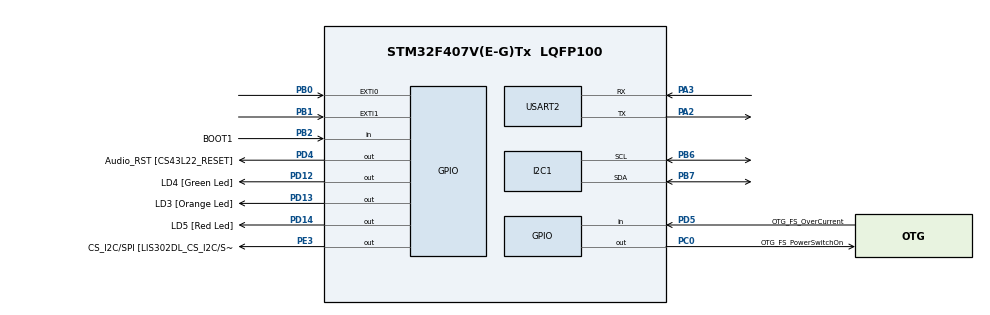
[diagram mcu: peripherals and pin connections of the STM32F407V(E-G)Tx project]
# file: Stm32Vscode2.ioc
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Dma.Request0=USART2_TX
Dma.USART2_TX.0.Direction=DMA_MEMORY_TO_PERIPH
Dma.USART2_TX.0.FIFOMode=DMA_FIFOMODE_DISABLE
Dma.USART2_TX.0.Instance=DMA1_Stream6
Dma.USART2_TX.0.MemDataAlignment=DMA_MDATAALIGN_BYTE
Dma.USART2_TX.0.MemInc=DMA_MINC_ENABLE
Dma.USART2_TX.0.Mode=DMA_NORMAL
Dma.USART2_TX.0.PeriphDataAlignment=DMA_PDATAALIGN_BYTE
Dma.USART2_TX.0.PeriphInc=DMA_PINC_DISABLE
Dma.USART2_TX.0.Priority=DMA_PRIORITY_LOW
Mcu.Family=STM32F4
Mcu.Name=STM32F407V(E-G)Tx
Mcu.Package=LQFP100
NVIC.DMA1_Stream6_IRQn=true\:0\:0\:false\:false\:true\:false\:true\:true
NVIC.I2C1_ER_IRQn=true\:0\:0\:false\:false\:true\:true\:true\:true
NVIC.I2C1_EV_IRQn=true\:0\:0\:false\:false\:true\:true\:true\:true
NVIC.PriorityGroup=NVIC_PRIORITYGROUP_0
NVIC.TIM6_DAC_IRQn=true\:0\:0\:false\:false\:true\:true\:true\:true
NVIC.USART2_IRQn=true\:0\:0\:false\:false\:true\:true\:true\:true
PA13.GPIO_Label=SWDIO
PA13.Mode=Serial_Wire
PA13.Signal=SYS_JTMS-SWDIO
PA14.GPIO_Label=SWCLK
PA14.Mode=Serial_Wire
PA14.Signal=SYS_JTCK-SWCLK
PA2.Mode=Asynchronous
PA2.Signal=USART2_TX
PA3.Mode=Asynchronous
PA3.Signal=USART2_RX
PB0.Signal=GPXTI0
PB1.Signal=GPXTI1
PB10.GPIO_Label=CLK_IN [MP45DT02_CLK]
PB10.GPIO_Mode=GPIO_MODE_AF_PP
PB10.GPIO_PuPd=GPIO_NOPULL
PB10.GPIO_Speed=GPIO_SPEED_FREQ_LOW
PB10.Signal=I2S2_CK
PB2.GPIO_Label=BOOT1
PB2.GPIO_Mode=GPIO_MODE_INPUT
PB2.GPIO_PuPd=GPIO_NOPULL
PB2.Signal=GPIO_Input
PB3.GPIO_Label=SWO
PB3.Signal=SYS_JTDO-SWO
PB6.Mode=I2C
PB6.Signal=I2C1_SCL
PB7.Mode=I2C
PB7.Signal=I2C1_SDA
PC0.GPIO_Label=OTG_FS_PowerSwitchOn
PC0.GPIO_PuPd=GPIO_NOPULL
PC0.GPIO_Speed=GPIO_SPEED_FREQ_LOW
PC0.PinState=GPIO_PIN_SET
PC0.Signal=GPIO_Output
PC10.GPIO_Label=I2S3_SCK [CS43L22_SCLK]
PC10.GPIO_Mode=GPIO_MODE_AF_PP
PC10.GPIO_PuPd=GPIO_NOPULL
PC10.GPIO_Speed=GPIO_SPEED_FREQ_LOW
PC10.Signal=I2S3_CK
PC12.GPIO_Label=I2S3_SD [CS43L22_SDIN]
PC12.GPIO_Mode=GPIO_MODE_AF_PP
PC12.GPIO_PuPd=GPIO_NOPULL
PC12.GPIO_Speed=GPIO_SPEED_FREQ_LOW
PC12.Signal=I2S3_SD
PC14-OSC32_IN.GPIO_Label=PC14-OSC32_IN
PC14-OSC32_IN.Mode=LSE-External-Oscillator
PC14-OSC32_IN.Signal=RCC_OSC32_IN
PC15-OSC32_OUT.GPIO_Label=PC15-OSC32_OUT
PC15-OSC32_OUT.Mode=LSE-External-Oscillator
PC15-OSC32_OUT.Signal=RCC_OSC32_OUT
PC3.GPIO_Label=PDM_OUT [MP45DT02_DOUT]
PC3.GPIO_Mode=GPIO_MODE_AF_PP
PC3.GPIO_PuPd=GPIO_NOPULL
PC3.GPIO_Speed=GPIO_SPEED_FREQ_LOW
PC3.Signal=I2S2_SD
PC7.GPIO_Label=I2S3_MCK [CS43L22_MCLK]
PC7.GPIO_Mode=GPIO_MODE_AF_PP
PC7.GPIO_PuPd=GPIO_NOPULL
PC7.GPIO_Speed=GPIO_SPEED_FREQ_LOW
PC7.Signal=I2S3_MCK
PD12.GPIO_Label=LD4 [Green Led]
PD12.GPIO_PuPd=GPIO_NOPULL
PD12.GPIO_Speed=GPIO_SPEED_FREQ_LOW
PD12.Signal=GPIO_Output
PD13.GPIO_Label=LD3 [Orange Led]
PD13.GPIO_PuPd=GPIO_NOPULL
PD13.GPIO_Speed=GPIO_SPEED_FREQ_LOW
PD13.Signal=GPIO_Output
PD14.GPIO_Label=LD5 [Red Led]
PD14.GPIO_PuPd=GPIO_NOPULL
PD14.GPIO_Speed=GPIO_SPEED_FREQ_LOW
PD14.Signal=GPIO_Output
PD4.GPIO_Label=Audio_RST [CS43L22_RESET]
PD4.GPIO_PuPd=GPIO_NOPULL
PD4.GPIO_Speed=GPIO_SPEED_FREQ_LOW
PD4.Signal=GPIO_Output
PD5.GPIO_Label=OTG_FS_OverCurrent
PD5.GPIO_Mode=GPIO_MODE_INPUT
PD5.GPIO_PuPd=GPIO_NOPULL
PD5.Signal=GPIO_Input
PE3.GPIO_Label=CS_I2C/SPI [LIS302DL_CS_I2C/SPI]
PE3.GPIO_PuPd=GPIO_NOPULL
PE3.GPIO_Speed=GPIO_SPEED_FREQ_LOW
PE3.Signal=GPIO_Output
PH0-OSC_IN.GPIO_Label=PH0-OSC_IN
PH0-OSC_IN.Mode=HSE-External-Oscillator
PH0-OSC_IN.Signal=RCC_OSC_IN
PH1-OSC_OUT.GPIO_Label=PH1-OSC_OUT
PH1-OSC_OUT.Mode=HSE-External-Oscillator
PH1-OSC_OUT.Signal=RCC_OSC_OUT
ProjectManager.HeapSize=0x200
ProjectManager.StackSize=0x400
ProjectManager.TargetToolchain=CMake
RCC.48MHZClocksFreq_Value=48000000
RCC.AHBFreq_Value=168000000
RCC.APB1CLKDivider=RCC_HCLK_DIV4
RCC.APB1Freq_Value=42000000
RCC.APB1TimFreq_Value=84000000
RCC.APB2CLKDivider=RCC_HCLK_DIV2
RCC.APB2Freq_Value=84000000
RCC.APB2TimFreq_Value=168000000
RCC.CortexFreq_Value=168000000
RCC.HCLKFreq_Value=168000000
RCC.HSE_VALUE=8000000
RCC.HSI_VALUE=16000000
RCC.PLLM=8
RCC.PLLN=336
RCC.PLLQ=7
RCC.PLLSourceVirtual=RCC_PLLSOURCE_HSE
RCC.SYSCLKFreq_VALUE=168000000
RCC.SYSCLKSource=RCC_SYSCLKSOURCE_PLLCLK
RCC.VCOOutputFreq_Value=336000000
USART2.VirtualMode=VM_ASYNC
VP_TIM6_VS_ClockSourceINT.Mode=Enable_Timer
board=STM32F407G-DISC1

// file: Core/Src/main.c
/* USER CODE BEGIN Header */
/**
  ******************************************************************************
  * @file           : main.c
  * @brief          : Main program body
  ******************************************************************************
  * @attention
  *
  * Copyright (c) 2025 STMicroelectronics.
  * All rights reserved.
  *
  * This software is licensed under terms that can be found in the LICENSE file
  * in the root directory of this software component.
  * If no LICENSE file comes with this software, it is provided AS-IS.
  *
  ******************************************************************************

/* USER CODE END Header */
#include "main.h"

/* USER CODE BEGIN Includes */
#include "eeprom.h"
#include "exti.h"
#include "I2C.h"
#include "initPeripheralsHal.h"
#include "imuData.h"
#include "max30102.h"
#include "mpu.h"
#include "uart.h"
#include "pulseOximetry.h"
#include "pulseData.h"
#include "HC08.h"
#include "timer.h"
/* USER CODE END Includes */

I2C_HandleTypeDef hi2c1;

TIM_HandleTypeDef htim6;

UART_HandleTypeDef huart2;
DMA_HandleTypeDef hdma_usart2_tx;

/* USER CODE BEGIN PV */
extern uint8_t mpuFlag;
extern uint8_t pulseOxFlag;
/* USER CODE END PV */

/* USER CODE BEGIN 0 */
uint8_t txBuffer[10]={65,66,67,68,69,70,71,72,73,74}; //ABCDEFGHIJ in ASCII code
uint8_t rxBuffer[10];
pulseData pulseArray[BUFFER_SIZE];
// uint32_t redIrGreen[9][BUFFER_SIZE];
/* USER CODE END 0 */

int main(void)
{

  /* MCU Configuration--------------------------------------------------------*/

  /* Reset of all peripherals, Initializes the Flash interface and the Systick. */
  HAL_Init();

  /* Configure the system clock */
  SystemClock_Config();

  /* Initialize all configured peripherals */
  MX_GPIO_Init();
  MX_DMA_Init();
  MX_I2C1_Init();
  MX_USART2_UART_Init();
  MX_TIM6_Init();
  /* USER CODE BEGIN 2 */
  HAL_TIM_Base_Start_IT(&htim6);
  /* USER CODE END 2 */

  /* Infinite loop */
  /* USER CODE BEGIN WHILE */

/*
 mpuWakeUP();
 mpuCycleInit();
 mpuIntConfig();
 checkMPUState();
*/

  HAL_StatusTypeDef testPulse=0;
  HAL_StatusTypeDef testMpu =0;
  HAL_StatusTypeDef status;
  HAL_DMA_StateTypeDef DMA_Status;
  testPulse = HAL_I2C_IsDeviceReady(&hi2c1, PULSEOXIMETRY_ADDRESS, 1, HAL_MAX_DELAY);
  //testMpu= HAL_I2C_IsDeviceReady(&hi2c1, IMUADDRESS, 1, HAL_MAX_DELAY);
  uint8_t devStatus=0;
  pulseOxInit(); //init max30101, 3Leds
  //pulseOxLowPower();
  hc08Init();
  // status = HAL_UART_Transmit_DMA(&huart2,txBuffer,10);
  // DMA_Status = HAL_DMA_GetState(&hdma_usart2_tx);
  HAL_Delay(500);
  uint8_t reading=0;
  while (1)
  {
	  reading = readValue(pulseArray);
    // uartWriteIt(txBuffer,9);
    HAL_Delay(100);
    if(reading ==1){
      asm("NOP");
    }
    if (reading ==2)
    {
      asm("NOP");
    }

	  turnOffMCU();

    /* USER CODE END WHILE */

  }
}

void Error_Handler(void)
{
  __disable_irq();
  while (1)
  {
  }
}
